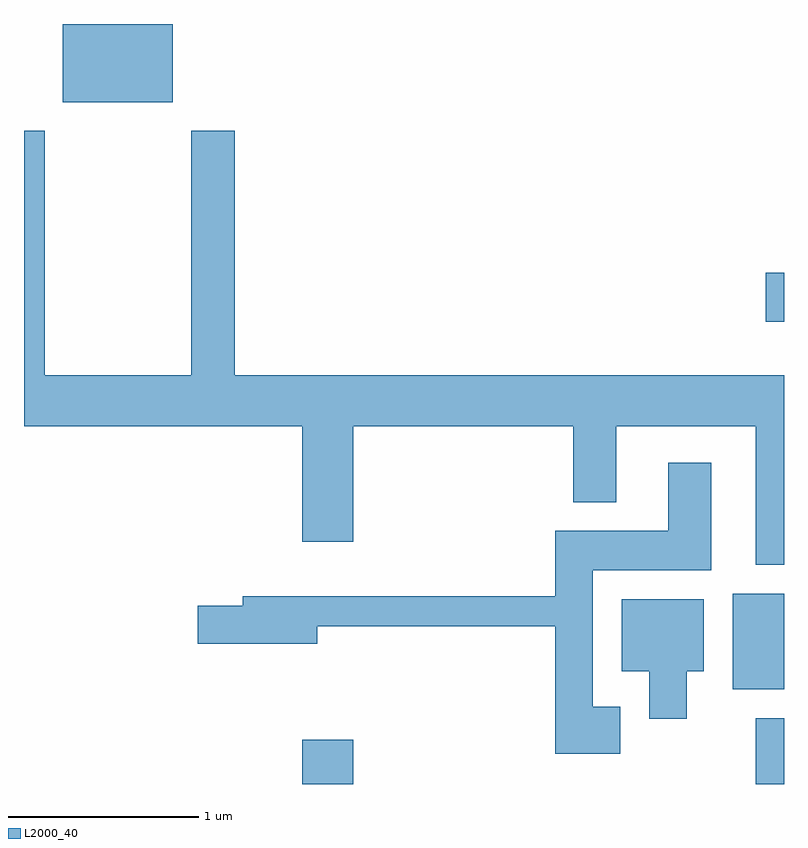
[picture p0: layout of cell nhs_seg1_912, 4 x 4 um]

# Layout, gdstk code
import gdstk
lib = gdstk.Library(unit=1e-6, precision=1e-09)
def R(c, l, rs):  # rectangles x0, y0, x1, y1
    for r in rs: c.add(gdstk.rectangle(r[:2], r[2:], *l))
def P(c, l, *ps):  # polygons
    for p in ps: c.add(gdstk.Polygon(p, *l))
L2000_40 = (2000, 40)

nhs_seg1_912 = lib.new_cell('nhs_seg1_912')
R(nhs_seg1_912, L2000_40, [(215.076,877.712,215.344,877.944), (217.461,877.712,217.611,878.059), (217.341,878.211,217.611,878.714), (217.516,880.146,217.611,880.404), (213.816,881.301,214.394,881.712)])
P(nhs_seg1_912, L2000_40, [(217.611,879.864),(214.719,879.864),(214.719,881.149),(214.491,881.149),(214.491,879.864),(213.719,879.864),(213.719,881.149),(213.611,881.149),(213.611,879.596),(215.076,879.596),(215.076,878.986),(215.344,878.986),(215.344,879.596),(216.501,879.596),(216.501,879.196),(216.729,879.196),(216.729,879.596),(217.461,879.596),(217.461,878.866),(217.611,878.866)],
  [(216.749,878.119),(216.604,878.119),(216.604,878.836),(217.229,878.836),(217.229,879.404),(217.001,879.404),(217.001,879.044),(216.406,879.044),(216.406,878.699),(214.761,878.699),(214.761,878.649),(214.526,878.649),(214.526,878.451),(215.154,878.451),(215.154,878.541),(216.406,878.541),(216.406,877.871),(216.749,877.871)],
  [(217.099,878.306),(217.189,878.306),(217.189,878.684),(216.756,878.684),(216.756,878.306),(216.901,878.306),(216.901,878.056),(217.099,878.056)])

lib.write_gds('nhs_seg1_912.gds')
